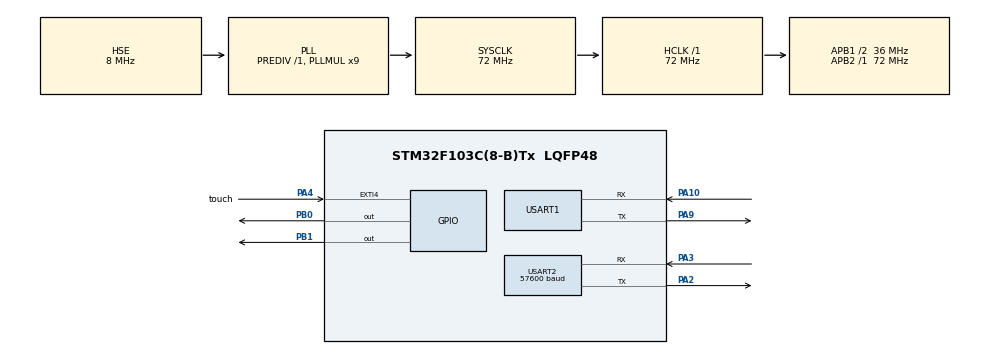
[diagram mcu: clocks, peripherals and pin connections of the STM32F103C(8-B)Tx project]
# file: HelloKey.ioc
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Dma.Request0=USART1_TX
Dma.Request1=USART2_TX
Dma.USART1_TX.0.Direction=DMA_MEMORY_TO_PERIPH
Dma.USART1_TX.0.Instance=DMA1_Channel4
Dma.USART1_TX.0.MemDataAlignment=DMA_MDATAALIGN_BYTE
Dma.USART1_TX.0.MemInc=DMA_MINC_ENABLE
Dma.USART1_TX.0.Mode=DMA_NORMAL
Dma.USART1_TX.0.PeriphDataAlignment=DMA_PDATAALIGN_BYTE
Dma.USART1_TX.0.PeriphInc=DMA_PINC_DISABLE
Dma.USART1_TX.0.Priority=DMA_PRIORITY_MEDIUM
Dma.USART2_TX.1.Direction=DMA_MEMORY_TO_PERIPH
Dma.USART2_TX.1.Instance=DMA1_Channel7
Dma.USART2_TX.1.MemDataAlignment=DMA_MDATAALIGN_BYTE
Dma.USART2_TX.1.MemInc=DMA_MINC_ENABLE
Dma.USART2_TX.1.Mode=DMA_NORMAL
Dma.USART2_TX.1.PeriphDataAlignment=DMA_PDATAALIGN_BYTE
Dma.USART2_TX.1.PeriphInc=DMA_PINC_DISABLE
Dma.USART2_TX.1.Priority=DMA_PRIORITY_LOW
Mcu.Family=STM32F1
Mcu.Name=STM32F103C(8-B)Tx
Mcu.Package=LQFP48
NVIC.DMA1_Channel4_IRQn=true\:3\:0\:true\:false\:true\:false\:true\:true
NVIC.DMA1_Channel7_IRQn=true\:3\:1\:true\:false\:true\:false\:true\:true
NVIC.EXTI4_IRQn=true\:2\:2\:true\:false\:true\:true\:true\:true
NVIC.PriorityGroup=NVIC_PRIORITYGROUP_2
NVIC.USART1_IRQn=true\:2\:0\:true\:false\:true\:true\:true\:true
NVIC.USART2_IRQn=true\:2\:1\:true\:false\:true\:true\:true\:true
PA10.Mode=Asynchronous
PA10.Signal=USART1_RX
PA2.Mode=Asynchronous
PA2.Signal=USART2_TX
PA3.Mode=Asynchronous
PA3.Signal=USART2_RX
PA4.GPIO_Label=touch
PA4.Signal=GPXTI4
PA9.Mode=Asynchronous
PA9.Signal=USART1_TX
PB0.GPIO_PuPd=GPIO_PULLUP
PB0.GPIO_Speed=GPIO_SPEED_FREQ_MEDIUM
PB0.PinState=GPIO_PIN_SET
PB0.Signal=GPIO_Output
PB1.GPIO_PuPd=GPIO_PULLUP
PB1.GPIO_Speed=GPIO_SPEED_FREQ_MEDIUM
PB1.PinState=GPIO_PIN_SET
PB1.Signal=GPIO_Output
PD0-OSC_IN.Mode=HSE-External-Oscillator
PD0-OSC_IN.Signal=RCC_OSC_IN
PD1-OSC_OUT.Mode=HSE-External-Oscillator
PD1-OSC_OUT.Signal=RCC_OSC_OUT
ProjectManager.HeapSize=0x200
ProjectManager.StackSize=0x400
ProjectManager.TargetToolchain=MDK-ARM V5.27
RCC.AHBFreq_Value=72000000
RCC.APB1CLKDivider=RCC_HCLK_DIV2
RCC.APB1Freq_Value=36000000
RCC.APB1TimFreq_Value=72000000
RCC.APB2Freq_Value=72000000
RCC.APB2TimFreq_Value=72000000
RCC.HCLKFreq_Value=72000000
RCC.PLLMUL=RCC_PLL_MUL9
RCC.PLLSourceVirtual=RCC_PLLSOURCE_HSE
RCC.SYSCLKFreq_VALUE=72000000
RCC.SYSCLKSource=RCC_SYSCLKSOURCE_PLLCLK
RCC.USBFreq_Value=72000000
USART1.VirtualMode=VM_ASYNC
USART2.BaudRate=57600
USART2.VirtualMode=VM_ASYNC
VP_SYS_VS_ND.Mode=No_Debug
board=custom

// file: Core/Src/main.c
/* USER CODE BEGIN Header */
/**
  ******************************************************************************
  * @file           : main.c
  * @brief          : Main program body
  ******************************************************************************
  * @attention
  *
  * Copyright (c) 2022 STMicroelectronics.
  * All rights reserved.
  *
  * This software is licensed under terms that can be found in the LICENSE file
  * in the root directory of this software component.
  * If no LICENSE file comes with this software, it is provided AS-IS.
  *
  ******************************************************************************
  */
/* USER CODE END Header */
#include "main.h"
#include "dma.h"
#include "usart.h"
#include "gpio.h"

/* USER CODE BEGIN Includes */
#include "led.h"
#include "delay.h"
#include "ZW800.h"
#include "func.h"
#include "kmfunc.h"
#include "message.h"
#include "CH9329.h"
#include "key.h"
#include "24c02.h"
/* USER CODE END Includes */

/* USER CODE BEGIN PTD */
extern UART_HandleTypeDef huart1;
extern UART_HandleTypeDef huart2;
extern uint16_t USART1_RX_STA;
extern uint16_t USART2_RX_STA;
extern uint8_t RxData1[100];

extern __IO uint8_t rxstate;
uint8_t data[10];
extern uint8_t LEN;
/* USER CODE END PTD */

/* USER CODE BEGIN PD */
uint8_t test[5]="test";
/* USER CODE END PD */

void SystemClock_Config(void);

int main(void)
{

  /* MCU Configuration--------------------------------------------------------*/

  /* Reset of all peripherals, Initializes the Flash interface and the Systick. */
  HAL_Init();

  /* Configure the system clock */
  SystemClock_Config();

  /* Initialize all configured peripherals */
  MX_GPIO_Init();
  MX_DMA_Init();
  MX_USART1_UART_Init();
  MX_USART2_UART_Init();
  /* USER CODE BEGIN 2 */
	LED_Init();
	KEY_Init();
	CH9329_Init();
	Delay_Init();
	IIC_Init();

	while(AT24CXX_Check()){
		HAL_GPIO_WritePin(GPIOB, GPIO_PIN_0, GPIO_PIN_RESET);
		Delay_ms(100);
		HAL_GPIO_WritePin(GPIOB, GPIO_PIN_0, GPIO_PIN_SET);
		Delay_ms(100);
	}

	CmdConnect();

	//HAL_NVIC_DisableIRQ(USART1_IRQn);
	//uint8_t ID[2]={0x00,0x08};
	//uint8_t PARAM[2]={0x00,0x00};
	//Con_AutoEnroll(ID,4,PARAM);
	//uint8_t PassWord[4]={0x00,0x00,0x00,0x00};
	//uint8_t *tmp=CMD_ControlBLN(2,4,2);
	//HAL_UART_Transmit(&huart1,tmp,ControlBLNSize,1000);

	//Con_GetDummyTempleteNo();
	//UnLock(960,625);
	//GetTableState();

//------------------------------指纹模块状态获取与初始化-----------------------------------/

	//if(!Con_HandShake())						//握手
	//{
	//	HAL_UART_Transmit(&KEYOUT,HandShake_ERROR,9,1000);
	//}
	//
	//if(!Con_GetChipSN())						//获取芯片序列号
	//{
	//	HAL_UART_Transmit(&KEYOUT,GetChipSN_ERROR,9,1000);
	//}
	//
	//if(!Con_CheckSensor())
	//{
	//	HAL_UART_Transmit(&KEYOUT,CheckSensor_ERROR,9,1000);
	//}
	//
	//if(!Con_ControlBLN(0x01,0x07,0x07,0x00))
	//{
	//	HAL_UART_Transmit(&KEYOUT,ControlBLN_ERROR,9,1000);
	//}
	////GetTableState();
	//Delay_ms(1000);
	//Con_AutoIdentify(ID,PARAM);
	//if(!Con_Sleep())
	//{
	//	HAL_UART_Transmit(&KEYOUT,Sleep_ERROR,9,1000);
	//}

//---------------------------------------------------------------------------------/

	//Set_Cfg();
	//Delay_ms(1000);
	Get_Cfg();
  /* USER CODE END 2 */

  /* Infinite loop */
  /* USER CODE BEGIN WHILE */
  while (1)
  {
		if(HAL_GPIO_ReadPin(GPIOA,GPIO_PIN_4)==GPIO_PIN_SET)
		{
			rxstate=0;
			Con_Sleep();
			Delay_ms(2000);
		}
		if(HAL_GPIO_ReadPin(GPIOB,GPIO_PIN_10)==GPIO_PIN_RESET)
		{
			CH9329_Reset();
		}
		//Delay_ms(500);
		//HAL_GPIO_TogglePin(GPIOC,GPIO_PIN_13);
		//HAL_UART_Receive(&huart1,data,10,1000);
		//Delay_ms(500);
		//HAL_UART_Transmit(&huart1,data,10,100);
		if(USART1_RX_STA&0x8000){
			HAL_UART_Transmit(&KEYOUT,RxData1,USART1_RX_STA&0X3FFF,1000);

			DATA_Judge(RxData1,6);

			USART1_RX_STA=0;
		}
		HAL_GPIO_WritePin(GPIOB,GPIO_PIN_0,GPIO_PIN_RESET);
		HAL_GPIO_WritePin(GPIOB,GPIO_PIN_1,GPIO_PIN_RESET);

    /* USER CODE END WHILE */

  }
}

void SystemClock_Config(void)
{
  RCC_OscInitTypeDef RCC_OscInitStruct = {0};
  RCC_ClkInitTypeDef RCC_ClkInitStruct = {0};

  /** Initializes the RCC Oscillators according to the specified parameters
  * in the RCC_OscInitTypeDef structure.
  */
  RCC_OscInitStruct.OscillatorType = RCC_OSCILLATORTYPE_HSE;
  RCC_OscInitStruct.HSEState = RCC_HSE_ON;
  RCC_OscInitStruct.HSEPredivValue = RCC_HSE_PREDIV_DIV1;
  RCC_OscInitStruct.HSIState = RCC_HSI_ON;
  RCC_OscInitStruct.PLL.PLLState = RCC_PLL_ON;
  RCC_OscInitStruct.PLL.PLLSource = RCC_PLLSOURCE_HSE;
  RCC_OscInitStruct.PLL.PLLMUL = RCC_PLL_MUL9;
  if (HAL_RCC_OscConfig(&RCC_OscInitStruct) != HAL_OK)
  {
    Error_Handler();
  }

  /** Initializes the CPU, AHB and APB buses clocks
  */
  RCC_ClkInitStruct.ClockType = RCC_CLOCKTYPE_HCLK|RCC_CLOCKTYPE_SYSCLK
                              |RCC_CLOCKTYPE_PCLK1|RCC_CLOCKTYPE_PCLK2;
  RCC_ClkInitStruct.SYSCLKSource = RCC_SYSCLKSOURCE_PLLCLK;
  RCC_ClkInitStruct.AHBCLKDivider = RCC_SYSCLK_DIV1;
  RCC_ClkInitStruct.APB1CLKDivider = RCC_HCLK_DIV2;
  RCC_ClkInitStruct.APB2CLKDivider = RCC_HCLK_DIV1;

  if (HAL_RCC_ClockConfig(&RCC_ClkInitStruct, FLASH_LATENCY_2) != HAL_OK)
  {
    Error_Handler();
  }
}

void Error_Handler(void)
{
  __disable_irq();
  while (1)
  {
  }
}
